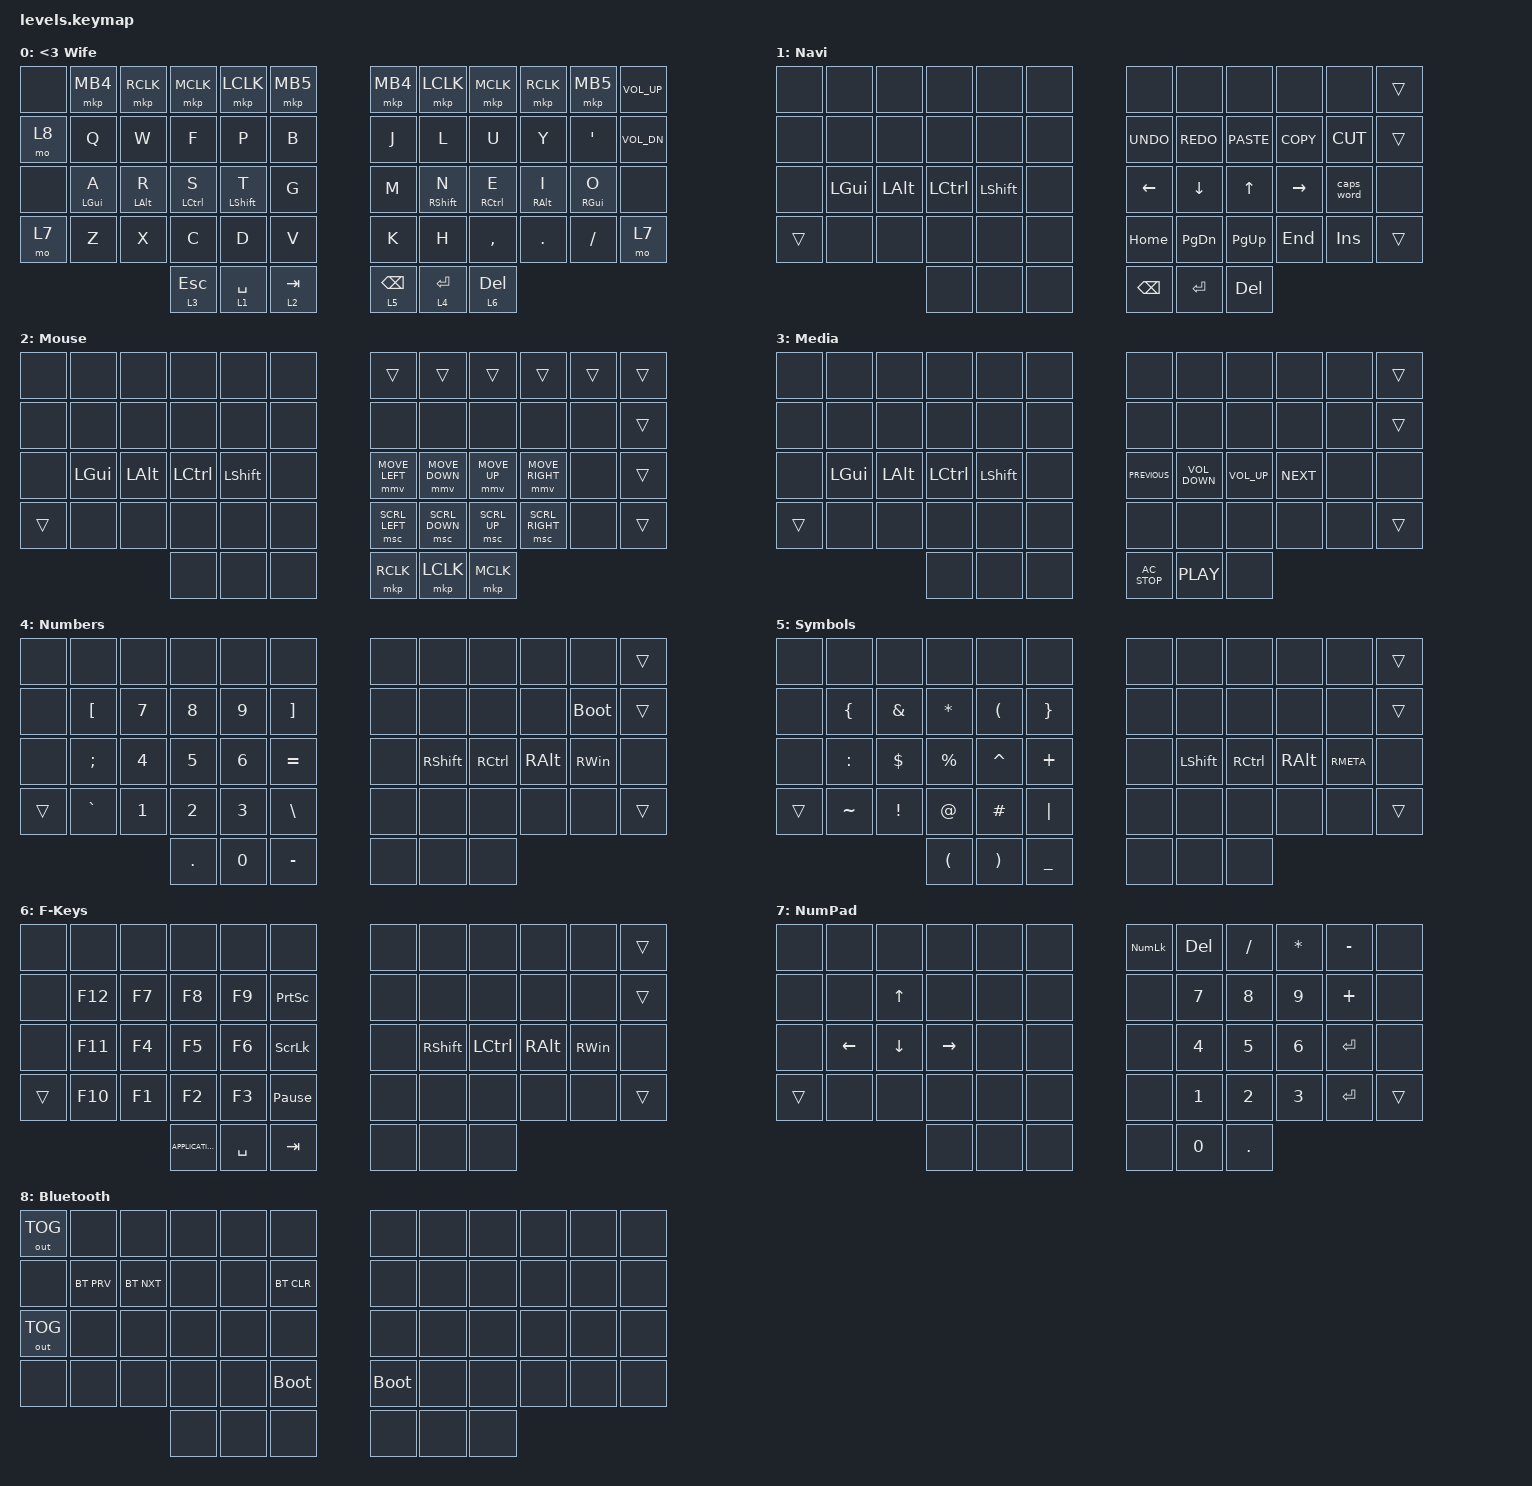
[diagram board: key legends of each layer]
#include <behaviors.dtsi>
#include <dt-bindings/zmk/bt.h>
#include <dt-bindings/zmk/keys.h>
#include <dt-bindings/zmk/outputs.h>
#include <dt-bindings/zmk/pointing.h>

/ {
    combos {
        compatible = "zmk,combos";

        LNumPad {
            bindings = <&tog 7>;
            key-positions = <36 24>;
        };

        RNumPad {
            bindings = <&tog 7>;
            key-positions = <47 35>;
        };

        BTClearAll {
            bindings = <&bt BT_CLR_ALL>;
            key-positions = <0 36>;
        };

        BT1 {
            bindings = <&bt_profile1>;
            key-positions = <0 1>;
        };

        BT2 {
            bindings = <&bt_profile2>;
            key-positions = <0 2>;
        };

        BT3 {
            bindings = <&bt_profile3>;
            key-positions = <0 3>;
        };

        BT4 {
            bindings = <&bt_profile4>;
            key-positions = <0 4>;
        };

        BT5 {
            bindings = <&bt_profile5>;
            key-positions = <0 5>;
        };

        Studio {
            bindings = <&studio_unlock>;
            key-positions = <0 11>;
        };

        LClick {
            bindings = <&mkp LCLK>;
            key-positions = <18 19>;
        };

        RClick {
            bindings = <&mkp RCLK>;
            key-positions = <19 20>;
        };

        ResetDongle {
            bindings = <&bootloader>;
            key-positions = <41 42>;
        };

        UsbOut {
            bindings = <&out OUT_USB>;
            key-positions = <0 12>;
        };
    };

    macros {
        bt_profile1: bt_profile1 {
            compatible = "zmk,behavior-macro";
            #binding-cells = <0>;
            bindings = <&out OUT_BLE &bt BT_SEL 0>;
            label = "BT_PROFILE1";
        };

        bt_profile2: bt_profile2 {
            compatible = "zmk,behavior-macro";
            #binding-cells = <0>;
            bindings = <&out OUT_BLE &bt BT_SEL 1>;
            label = "BT_PROFILE2";
        };

        bt_profile3: bt_profile3 {
            compatible = "zmk,behavior-macro";
            #binding-cells = <0>;
            bindings = <&out OUT_BLE &bt BT_SEL 2>;
            label = "BT_PROFILE3";
        };

        bt_profile4: bt_profile4 {
            compatible = "zmk,behavior-macro";
            #binding-cells = <0>;
            bindings = <&out OUT_BLE &bt BT_SEL 3>;
            label = "BT_PROFILE4";
        };

        bt_profile5: bt_profile5 {
            compatible = "zmk,behavior-macro";
            #binding-cells = <0>;
            bindings = <&out OUT_BLE &bt BT_SEL 4>;
            label = "BT_PROFILE5";
        };
    };

    behaviors {
        hml: hml {
            compatible = "zmk,behavior-hold-tap";
            label = "HML";
            bindings = <&kp>, <&kp>;

            #binding-cells = <2>;
            tapping-term-ms = <190>;
            quick-tap-ms = <175>;
            require-prior-idle-ms = <150>;
            flavor = "balanced";
            hold-trigger-key-positions = <6 7 8 9 10 11 18 19 20 21 22 23 30 31 32 33 34 35 42 43 44 45 46 47 51 52 53 50 49 48>;
            hold-trigger-on-release;
        };

        hmr: hmr {
            compatible = "zmk,behavior-hold-tap";
            label = "HMR";
            bindings = <&kp>, <&kp>;

            #binding-cells = <2>;
            tapping-term-ms = <190>;
            quick-tap-ms = <175>;
            require-prior-idle-ms = <150>;
            flavor = "balanced";
            hold-trigger-key-positions = <0 1 5 12 13 14 15 16 17 24 25 26 27 28 29 36 37 38 39 40 41 48 49 50 4 3 15 2 51 52 53>;
            hold-trigger-on-release;
        };
    };

    keymap {
        compatible = "zmk,keymap";

        base {
            display-name = "<3 Wife";
            bindings = <
&none  &mkp MB4         &mkp RCLK        &mkp MCLK     &mkp LCLK          &mkp MB5     &mkp MB4         &mkp LCLK           &mkp MCLK     &mkp RCLK    &mkp MB5          &kp C_VOLUME_UP
&mo 8  &kp Q            &kp W            &kp F         &kp P              &kp B        &kp J            &kp L               &kp U         &kp Y        &kp SQT           &kp C_VOL_DN
&none  &hml LEFT_GUI A  &hml LEFT_ALT R  &hml LCTRL S  &hml LEFT_SHIFT T  &kp G        &kp M            &hmr RIGHT_SHIFT N  &hmr RCTRL E  &hmr RALT I  &hmr RIGHT_GUI O  &none
&mo 7  &kp Z            &kp X            &kp C         &kp D              &kp V        &kp K            &kp H               &kp COMMA     &kp DOT      &kp SLASH         &mo 7
                                         &lt 3 ESCAPE  &lt 1 SPACE        &lt 2 TAB    &lt 5 BACKSPACE  &lt 4 ENTER         &lt 6 DELETE
            >;
        };

        nav {
            bindings = <
&none   &none         &none         &none      &none           &none    &none           &none           &none         &none       &none       &trans
&none   &none         &none         &none      &none           &none    &kp K_UNDO      &kp K_REDO      &kp K_PASTE   &kp K_COPY  &kp K_CUT   &trans
&none   &kp LEFT_GUI  &kp LEFT_ALT  &kp LCTRL  &kp LEFT_SHIFT  &none    &kp LEFT_ARROW  &kp DOWN_ARROW  &kp UP_ARROW  &kp RIGHT   &caps_word  &none
&trans  &none         &none         &none      &none           &none    &kp HOME        &kp PAGE_DOWN   &kp PAGE_UP   &kp END     &kp INS     &trans
                                    &none      &none           &none    &kp BACKSPACE   &kp ENTER       &kp DELETE
            >;

            label = "Navi";
        };

        mouse {
            display-name = "Mouse";
            bindings = <
&none   &none     &none     &none      &none      &none    &trans          &trans          &trans        &trans           &trans  &trans
&none   &none     &none     &none      &none      &none    &none           &none           &none         &none            &none   &trans
&none   &kp LGUI  &kp LALT  &kp LCTRL  &kp LSHFT  &none    &mmv MOVE_LEFT  &mmv MOVE_DOWN  &mmv MOVE_UP  &mmv MOVE_RIGHT  &none   &trans
&trans  &none     &none     &none      &none      &none    &msc SCRL_LEFT  &msc SCRL_DOWN  &msc SCRL_UP  &msc SCRL_RIGHT  &none   &trans
                            &none      &none      &none    &mkp RCLK       &mkp LCLK       &mkp MCLK
            >;
        };

        media {
            bindings = <
&none   &none     &none     &none      &none      &none    &none           &none              &none            &none       &none  &trans
&none   &none     &none     &none      &none      &none    &none           &none              &none            &none       &none  &trans
&none   &kp LGUI  &kp LALT  &kp LCTRL  &kp LSHFT  &none    &kp C_PREVIOUS  &kp C_VOLUME_DOWN  &kp C_VOLUME_UP  &kp C_NEXT  &none  &none
&trans  &none     &none     &none      &none      &none    &none           &none              &none            &none       &none  &trans
                            &none      &none      &none    &kp C_AC_STOP   &kp C_PLAY         &none
            >;

            label = "Media";
        };

        num {
            display-name = "Numbers";
            bindings = <
&none   &none             &none   &none       &none         &none                &none  &none            &none      &none          &none        &trans
&none   &kp LEFT_BRACKET  &kp N7  &kp N8      &kp N9        &kp RIGHT_BRACKET    &none  &none            &none      &none          &bootloader  &trans
&none   &kp SEMICOLON     &kp N4  &kp N5      &kp NUMBER_6  &kp EQUAL            &none  &kp RIGHT_SHIFT  &kp RCTRL  &kp RIGHT_ALT  &kp RWIN     &none
&trans  &kp GRAVE         &kp N1  &kp N2      &kp N3        &kp BSLH             &none  &none            &none      &none          &none        &trans
                                  &kp PERIOD  &kp N0        &kp MINUS            &none  &none            &none
            >;
        };

        sym {
            display-name = "Symbols";
            bindings = <
&none   &none           &none            &none                 &none                  &none              &none  &none      &none      &none          &none      &trans
&none   &kp LEFT_BRACE  &kp AMPERSAND    &kp ASTERISK          &kp LEFT_PARENTHESIS   &kp RIGHT_BRACE    &none  &none      &none      &none          &none      &trans
&none   &kp COLON       &kp DOLLAR       &kp PERCENT           &kp CARET              &kp PLUS           &none  &kp LSHFT  &kp RCTRL  &kp RIGHT_ALT  &kp RMETA  &none
&trans  &kp TILDE       &kp EXCLAMATION  &kp AT_SIGN           &kp HASH               &kp PIPE           &none  &none      &none      &none          &none      &trans
                                         &kp LEFT_PARENTHESIS  &kp RIGHT_PARENTHESIS  &kp UNDERSCORE     &none  &none      &none
            >;
        };

        func {
            display-name = "F-Keys";
            bindings = <
&none   &none    &none   &none              &none      &none              &none  &none      &none      &none     &none     &trans
&none   &kp F12  &kp F7  &kp F8             &kp F9     &kp PRINTSCREEN    &none  &none      &none      &none     &none     &trans
&none   &kp F11  &kp F4  &kp F5             &kp F6     &kp SCROLLLOCK     &none  &kp RSHFT  &kp LCTRL  &kp RALT  &kp RWIN  &none
&trans  &kp F10  &kp F1  &kp F2             &kp F3     &kp PAUSE_BREAK    &none  &none      &none      &none     &none     &trans
                         &kp K_APPLICATION  &kp SPACE  &kp TAB            &none  &none      &none
            >;
        };

        numpad {
            bindings = <
&none   &none           &none           &none      &none  &none    &kp KP_NUMLOCK  &kp DEL  &kp FSLH  &kp STAR  &kp MINUS  &none
&none   &none           &kp UP_ARROW    &none      &none  &none    &none           &kp N7   &kp N8    &kp N9    &kp PLUS   &none
&none   &kp LEFT_ARROW  &kp DOWN_ARROW  &kp RIGHT  &none  &none    &none           &kp N4   &kp N5    &kp N6    &kp RET    &none
&trans  &none           &none           &none      &none  &none    &none           &kp N1   &kp N2    &kp N3    &kp RET    &trans
                                        &none      &none  &none    &none           &kp N0   &kp DOT
            >;

            label = "NumPad";
        };

        bt {
            bindings = <
&out OUT_TOG  &none       &none       &none  &none  &none          &none        &none  &none  &none  &none  &none
&none         &bt BT_PRV  &bt BT_NXT  &none  &none  &bt BT_CLR     &none        &none  &none  &none  &none  &none
&out OUT_TOG  &none       &none       &none  &none  &none          &none        &none  &none  &none  &none  &none
&none         &none       &none       &none  &none  &bootloader    &bootloader  &none  &none  &none  &none  &none
                                      &none  &none  &none          &none        &none  &none
            >;

            label = "Bluetooth";
        };
    };
};
